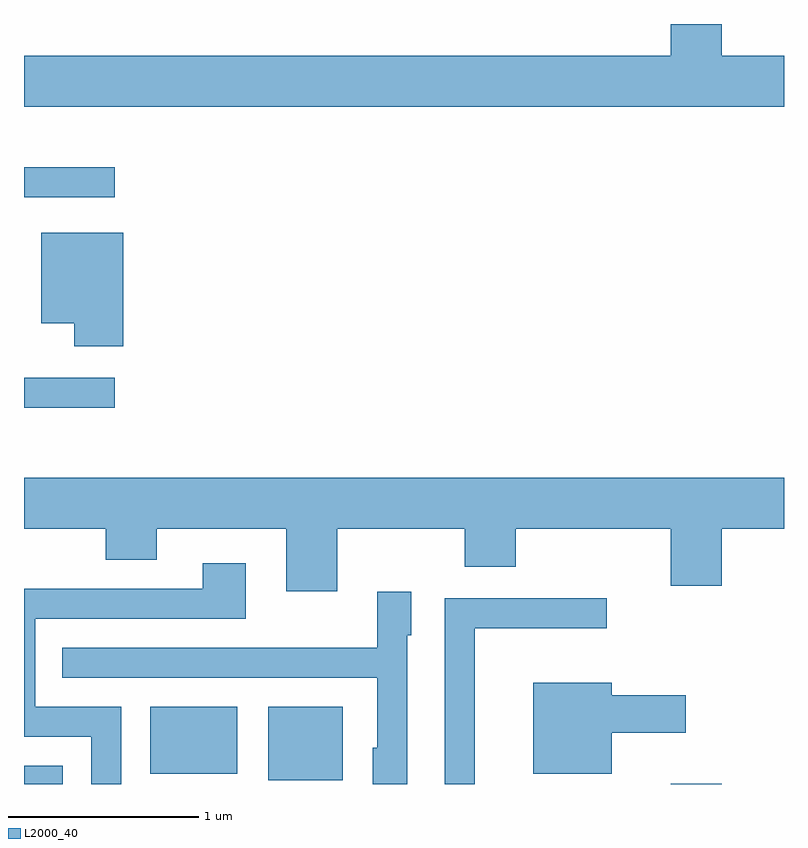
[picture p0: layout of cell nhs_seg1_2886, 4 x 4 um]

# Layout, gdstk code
import gdstk
lib = gdstk.Library(unit=1e-6, precision=1e-09)
def R(c, l, rs):  # rectangles x0, y0, x1, y1
    for r in rs: c.add(gdstk.rectangle(r[:2], r[2:], *l))
def P(c, l, *ps):  # polygons
    for p in ps: c.add(gdstk.Polygon(p, *l))
L2000_40 = (2000, 40)

nhs_seg1_2886 = lib.new_cell('nhs_seg1_2886')
R(nhs_seg1_2886, L2000_40, [(271.611,973.712,271.814,973.809), (275.016,973.712,275.284,973.714), (272.896,973.731,273.289,974.119), (272.276,973.766,272.734,974.119), (271.611,975.691,272.088,975.849), (271.611,976.801,272.088,976.959)])
P(nhs_seg1_2886, L2000_40, [(275.611,977.544),(275.284,977.544),(275.284,977.712),(275.016,977.712),(275.016,977.544),(271.611,977.544),(271.611,977.276),(275.611,977.276)],
  [(272.134,976.614),(271.701,976.614),(271.701,976.136),(271.876,976.136),(271.876,976.016),(272.134,976.016)],
  [(273.259,975.056),(273.931,975.056),(273.931,974.856),(274.199,974.856),(274.199,975.056),(275.016,975.056),(275.016,974.756),(275.284,974.756),(275.284,975.056),(275.611,975.056),(275.611,975.324),(271.611,975.324),(271.611,975.056),(272.041,975.056),(272.041,974.891),(272.309,974.891),(272.309,975.056),(272.991,975.056),(272.991,974.726),(273.259,974.726)],
  [(272.124,974.119),(271.669,974.119),(271.669,974.581),(272.779,974.581),(272.779,974.874),(272.551,974.874),(272.551,974.739),(271.611,974.739),(271.611,973.961),(271.966,973.961),(271.966,973.712),(272.124,973.712)],
  [(273.629,974.496),(273.649,974.496),(273.649,974.724),(273.471,974.724),(273.471,974.429),(271.813,974.429),(271.813,974.271),(273.471,974.271),(273.471,973.904),(273.446,973.904),(273.446,973.712),(273.629,973.712)],
  [(273.984,974.531),(274.678,974.531),(274.678,974.689),(273.826,974.689),(273.826,973.712),(273.984,973.712)],
  [(274.704,973.981),(275.094,973.981),(275.094,974.179),(274.704,974.179),(274.704,974.244),(274.291,974.244),(274.291,973.766),(274.704,973.766)])

lib.write_gds('nhs_seg1_2886.gds')
